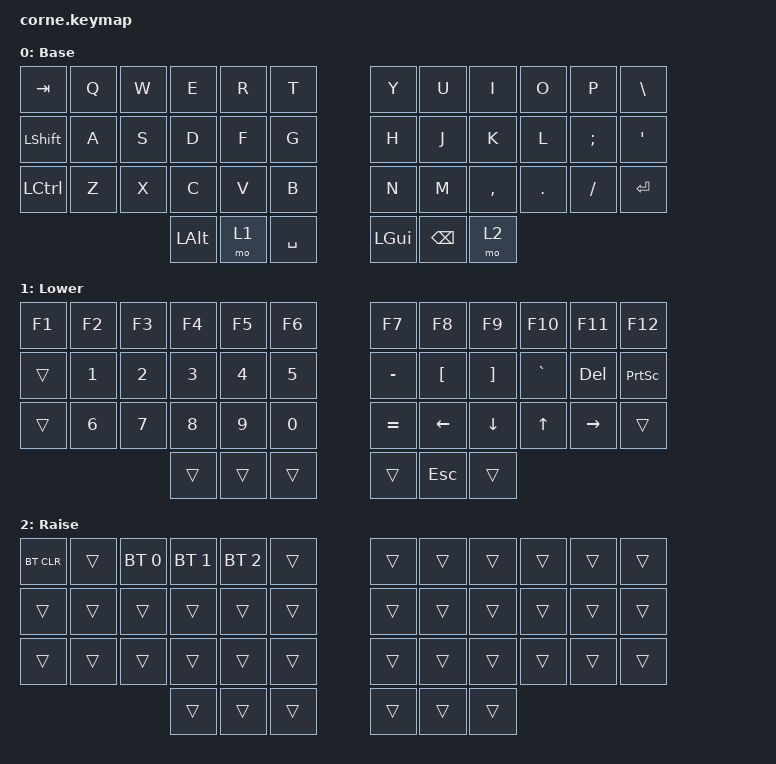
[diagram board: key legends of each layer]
/*
 * Copyright (c) 2020 The ZMK Contributors
 *
 * SPDX-License-Identifier: MIT
 */

#include <behaviors.dtsi>
#include <dt-bindings/zmk/keys.h>
#include <dt-bindings/zmk/bt.h>

/ {
        keymap {
                compatible = "zmk,keymap";

                default_layer {
// -------------------------------------------------------------------------------------------------
// |  TAB |  Q   |  W   |  E   |  R   |  T   ||---------||  Y   |  U   |  I   |  O   |  P   |  BSL |
// | SHFT |  A   |  S   |  D   |  F   |  G   ||---------||  H   |  J   |  K   |  L   |  ;   |  '   |
// | CTRL |  Z   |  X   |  C   |  V   |  B   ||---------||  N   |  M   |  ,   |  .   |  /   |  RET |
// ---------------------|  ALT |  LWR |  SPC ||---------||  BKS |  RSE |  GUI |---------------------
                        label = "Base";
                        bindings = <
 &kp TAB    &kp Q  &kp W     &kp E      &kp R      &kp T             &kp Y     &kp U     &kp I      &kp O    &kp P     &kp BSLH
 &kp LSHFT  &kp A  &kp S     &kp D      &kp F      &kp G             &kp H     &kp J     &kp K      &kp L    &kp SEMI  &kp QUOT
 &kp LCTRL  &kp Z  &kp X     &kp C      &kp V      &kp B             &kp N     &kp M     &kp COMMA  &kp DOT  &kp FSLH  &kp RET
                             &kp LALT   &mo 1      &kp SPACE         &kp LGUI  &kp BSPC  &mo 2
                        >;
                };
                lower_layer {
// -------------------------------------------------------------------------------------------------
// |  F1  |  F2  |  F3  |  F4  |  F5  |  F6  ||---------||  F7  |  F8  |  F9  |  F10 |  F11 |  F12 |
// |      |  1   |  2   |  3   |  4   |  5   ||---------||  -   |  [   |  ]   |  `   |  DEL |  PSC |
// |      |  6   |  7   |  8   |  9   |  0   ||---------||  =   |  LFT |  DWN |  UP  |  RGT |      |
// ---------------------|      |      |      ||---------||      |  ESC |      |---------------------
                        label = "Lower";
                        bindings = <
&kp F1  &kp F2  &kp F3  &kp F4  &kp F5  &kp F6          &kp F7     &kp F8    &kp F9    &kp F10    &kp F11    &kp F12
&trans  &kp N1  &kp N2  &kp N3  &kp N4  &kp N5          &kp MINUS  &kp LBKT  &kp RBKT  &kp GRAVE  &kp DEL    &kp PSCRN
&trans  &kp N6  &kp N7  &kp N8  &kp N9  &kp N0          &kp EQUAL  &kp LEFT  &kp DOWN  &kp UP     &kp RIGHT  &trans
                        &trans  &trans  &trans          &trans     &kp ESC    &trans
                        >;
                };

                raise_layer {
// -------------------------------------------------------------------------------------------------
// | BCLR |      | BT1  | BT2  | BT3  |      ||---------||      |      |      |      |      |      |
// |      |      |      |      |      |      ||---------||      |      |      |      |      |      |
// |      |      |      |      |      |      ||---------||      |      |      |      |      |      |
// ---------------------|      |      |      ||---------||      |      |      |---------------------
                        label = "Raise";
                        bindings = <
&bt BT_CLR  &trans  &bt BT_SEL 0  &bt BT_SEL 1  &bt BT_SEL 2  &trans         &trans  &trans  &trans  &trans  &trans  &trans
&trans      &trans  &trans        &trans        &trans        &trans         &trans  &trans  &trans  &trans  &trans  &trans
&trans      &trans  &trans        &trans        &trans        &trans         &trans  &trans  &trans  &trans  &trans  &trans
                                  &trans        &trans        &trans         &trans  &trans  &trans
                        >;
                };
        };
};
// Template
// -------------------------------------------------------------------------------------------------
// |  ?   |  ?   |  ?   |  ?   |  ?   |  ?   ||---------||  ?   |  ?   |  ?   |  ?   |  ?   |  ?   |
// |  ?   |  ?   |  ?   |  ?   |  ?   |  ?   ||---------||  ?   |  ?   |  ?   |  ?   |  ?   |  ?   |
// |  ?   |  ?   |  ?   |  ?   |  ?   |  ?   ||---------||  ?   |  ?   |  ?   |  ?   |  ?   |  ?   |
// ---------------------|  ?   |  ?   |  ?   ||---------||  ?   |  ?   |  ?   |---------------------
